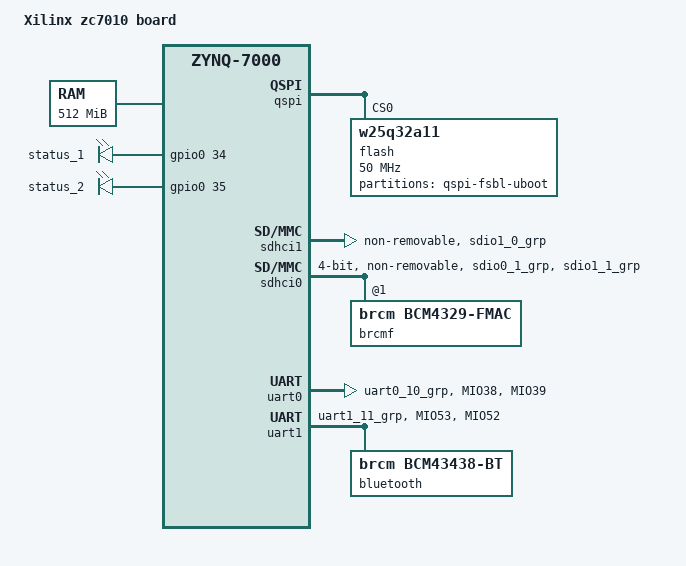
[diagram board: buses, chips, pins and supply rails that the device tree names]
// SPDX-License-Identifier: GPL-2.0+
/*
 *  Copyright (C) 2011 - 2015 Xilinx
 *  Copyright (C) 2012 National Instruments Corp.
 */
/dts-v1/;
/include/ "zynq-7000.dtsi"

/ {
	model = "Xilinx zc7010 board";
	compatible = "xlnx,zynq-zc7010", "xlnx,zynq-7000";

	aliases {
		serial0 = &uart0;
		spi0 = &qspi;
		mmc0 = &sdhci1;
		mmc1 = &sdhci0;
	};

	memory@0 {
		device_type = "memory";
		reg = <0x0 0x20000000>;
	};

	chosen {
		bootargs = "";
		stdout-path = "serial0:921600n8";
	};
	
	leds {
		compatible = "gpio-leds";

		status_1 {
			label = "status_1";
			gpios = <&gpio0 34 0>;
			linux,default-trigger = "heartbeat";
		};
		status_2 {
			label = "status_2";
			gpios = <&gpio0 35 0>;
		};
	};
};

&amba {
	ocm: sram@fffc0000 {
		compatible = "mmio-sram";
		reg = <0xfffc0000 0x10000>;
	};
};

&clkc {
	ps-clk-frequency = <33333333>;
};


&gpio0 {
	pinctrl-names = "default";
	pinctrl-0 = <&pinctrl_gpio0_default>;
};

&pinctrl0 {

	pinctrl_gpio0_default: gpio0-default {
		mux {
			function = "gpio0";
			groups = "gpio0_34_grp", "gpio0_35_grp";
		};

		conf {
			groups = "gpio0_34_grp", "gpio0_35_grp";
			slew-rate = <0>;
			io-standard = <1>;
		};
	};

	pinctrl_sdhci1_default: sdhci1-default {
		mux {
			function = "sdio1";
			groups = "sdio1_0_grp";
		};

		conf {
			groups = "sdio1_0_grp";
			slew-rate = <0>;
			io-standard = <1>;
			bias-pull-up;
		};
	};
	
	pinctrl_sdhci0_default: sdhci0-default {
		mux {
			function = "sdio0";
			groups = "sdio0_1_grp";
		};

		conf {
			groups = "sdio1_1_grp";
			slew-rate = <0>;
			io-standard = <1>;
			bias-pull-up;
		};
	};
	
	pinctrl_uart0_default: uart0-default {
		mux {
			groups = "uart0_10_grp";
			function = "uart0";
		};

		conf {
			groups = "uart0_10_grp";
			slew-rate = <0>;
			io-standard = <1>;
		};

		conf-rx {
			pins = "MIO38";
			bias-high-impedance;
		};

		conf-tx {
			pins = "MIO39";
			bias-disable;
		};
	};
	
	pinctrl_uart1_default: uart1-default {
		mux {
			groups = "uart1_11_grp";
			function = "uart1";
		};

		conf {
			groups = "uart1_11_grp";
			slew-rate = <0>;
			io-standard = <1>;
		};

		conf-rx {
			pins = "MIO53";
			bias-high-impedance;
		};

		conf-tx {
			pins = "MIO52";
			bias-disable;
		};
	};
};

&qspi {
	u-boot,dm-pre-reloc;
	status = "okay";
	is-dual = <0>;
	num-cs = <1>;
	flash@0 {
		compatible = "w25q32a11";
		reg = <0x0>;
		spi-tx-bus-width = <1>;
		spi-rx-bus-width = <4>;
		spi-max-frequency = <50000000>;
		#address-cells = <1>;
		#size-cells = <1>;
		partition@qspi-fsbl-uboot {
			label = "qspi-fsbl-uboot";
			reg = <0x0 0x300000>;
		};
	};
};

/* SDHCI1 is used to control eMMC */
&sdhci1 {
	status = "okay";
	pinctrl-names = "default";
	pinctrl-0 = <&pinctrl_sdhci1_default>;
	disable-wp;
	/*bus-width = <8>;*/ /*TODO: Check 8bit configuration */
	/*max-frequency = <25000000>;*/
    xlnx,mio_bank = <0>;
    non-removable;
};

/* SDHCI0 is used to control the SDIO for wireless */
&sdhci0 {
	#address-cells = <1>;
	#size-cells = <0>;
	pinctrl-names = "default";
	pinctrl-0 = <&pinctrl_sdhci0_default>;
	status = "okay";
	bus-width = <4>;
	non-removable;
	/*mmc-pwrseq = <&wifi_pwrseq>;*/

	brcmf: wifi@1 {
		reg = <1>;
		compatible = "brcm,bcm4329-fmac";
	};
};

/* uart0 - serian console */
&uart0 {
	u-boot,dm-pre-reloc;
	status = "okay";
	pinctrl-names = "default";
	pinctrl-0 = <&pinctrl_uart0_default>;
};

/* uart1 communicates with the BT module */
&uart1 {
	pinctrl-names = "default";
	pinctrl-0 = <&pinctrl_uart1_default>;
	status = "okay";

	bluetooth {
		compatible = "brcm,bcm43438-bt";
		max-speed = <2000000>;
		/*shutdown-gpios = <&expgpio 0 GPIO_ACTIVE_HIGH>;*/
	};
};

&watchdog0 {
	reset-on-timeout;
};
